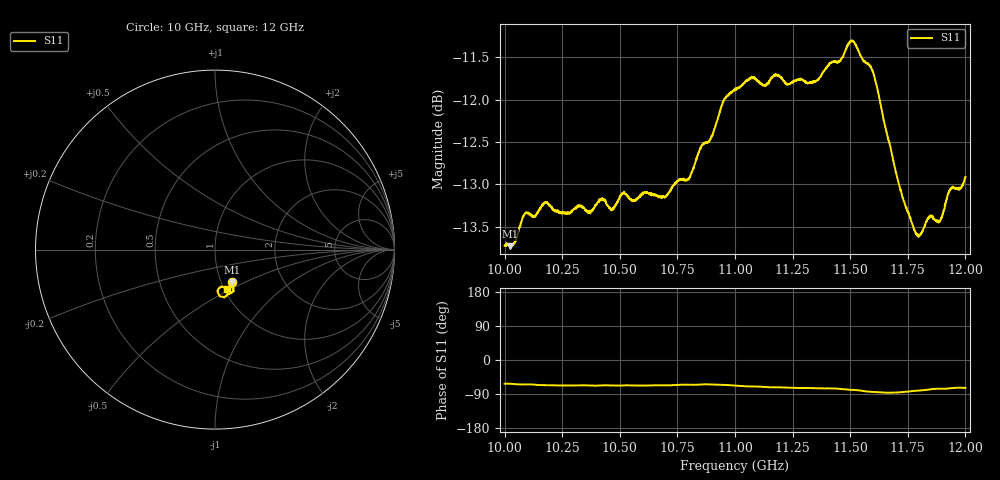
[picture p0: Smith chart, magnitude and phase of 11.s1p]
[Version] 2.0
! Rohde & Schwarz Vector Network Analyzer
! Rohde-Schwarz,ZNL20-2Port,1323001220200009,1.71.1.10-23.02.1.238
! Port Assignments:
! Nominal Port -> Actual Test Port
!  1 -> 1
! Created: GMT 2024-09-04 14:20:58
# Hz S DB R 50
[Number of Ports] 1
! freq[Hz]  S11[mag dB]  S11[ang]
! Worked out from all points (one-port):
!   2001 points, 10 GHz to 12 GHz, reference 50 ohm
!   lowest |S11| = -13.7 dB at 10.02 GHz (marker M1), VSWR 1.52, Z = 56.1 - j21.4 ohm
!   |S11| at or under -10 dB: start of sweep to end of sweep
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[Number of Frequencies] 28
[Network Data]
1e10  -13.73 -62.6
1.0024e10  -13.73 -62.7
1.0092e10  -13.33 -64.3
1.0177e10  -13.22 -66.5
1.025e10  -13.33 -67.2
1.0371e10  -13.33 -67.3
1.042e10  -13.18 -67.1
1.0467e10  -13.29 -67.4
1.05e10  -13.14 -67.6
1.0692e10  -13.15 -66.7
1.075e10  -12.97 -65.7
1.0801e10  -12.93 -65.3
1.0873e10  -12.51 -64.2
1.0954e10  -11.99 -65.9
1.1e10  -11.87 -67.2
1.1072e10  -11.73 -69.7
1.125e10  -11.79 -73.6
1.1354e10  -11.78 -74.4
1.1428e10  -11.55 -75.1
1.15e10  -11.31 -78.6
1.1599e10  -11.67 -84.3
1.1675e10  -12.57 -86.4
1.175e10  -13.32 -83.4
1.1801e10  -13.61 -80.5
1.1865e10  -13.42 -76.2
1.1894e10  -13.40 -76.0
1.1935e10  -13.05 -74.5
1.2e10  -12.91 -73.4
[End]
